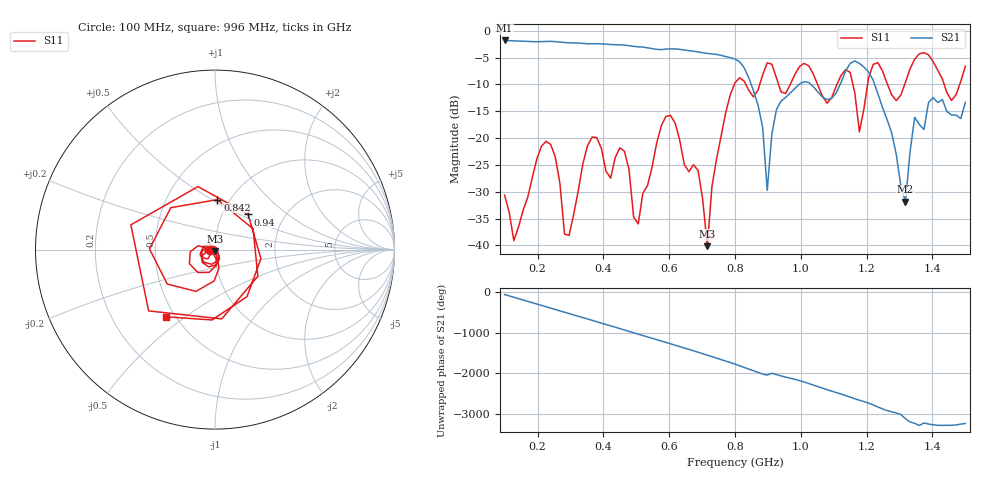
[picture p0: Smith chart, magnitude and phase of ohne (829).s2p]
! NanoVNA-App
! Date: 2025-09-25 14:27:15
! Start: 100MHz Stop: 1,5GHz Points: 101
! S-Parameter data: F S11 S21 S12 S22
# Hz S RI R 50
!  Frequency  S11_Real  S11_Imag  S21_Real  S21_Imag  S12_Real  S12_Imag  S22_Real  S22_Imag
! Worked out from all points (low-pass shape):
!   101 points, 100 MHz to 1.5 GHz, reference 50 ohm
!   highest |S21| = -1.79 dB at 100 MHz (marker M1); lowest = -31.9 dB at 1.318 GHz (marker M2)
!   |S21| within 3 dB of the highest: start of sweep to 771.6 MHz
!   lowest |S11| = -40.2 dB at 716 MHz (marker M3), VSWR 1.02, Z = 49.8 - j0.96 ohm
!   |S11| at or under -10 dB: start of sweep to 797.9 MHz; 833 MHz to 875.1 MHz (42.08 MHz wide, 4.93 % of centre); 1.051 GHz to 1.11 GHz (58.78 MHz wide, 5.44 % of centre) (the widest 3 of 7)
!   S12 and S22 are empty: the file has one direction only
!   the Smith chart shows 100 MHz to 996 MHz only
!   S11 on the Smith chart (normalised r, x): 100 MHz: 0.94, -0.01; 842 MHz: 0.88, +0.53; 940 MHz: 1.32, +0.56; 996 MHz: 0.44, -0.42
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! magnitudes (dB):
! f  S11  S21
! 100 MHz  -30.6  -1.8
! 128 MHz  -39.1  -1.9
! 226 MHz  -20.6  -2.0
! 296 MHz  -38.1  -2.2
! 338 MHz  -24.7  -2.3
! 464 MHz  -22.4  -2.7
! 506 MHz  -36.0  -3.0
! 576 MHz  -17.7  -3.5
! 688 MHz  -26.1  -3.9
! 716 MHz  -40.2  -4.2
! 800 MHz  -9.7  -5.3
! 842 MHz  -11.1  -8.8
! 898 MHz  -6.0  -29.8
! 940 MHz  -11.4  -13.1
! 996 MHz  -6.7  -9.9
! 1.038 GHz  -8.1  -10.4
! 1.178 GHz  -18.8  -6.1
! 1.22 GHz  -6.3  -9.2
! 1.276 GHz  -11.9  -19.0
! 1.318 GHz  -9.6  -31.9
! 1.346 GHz  -5.3  -16.1
! 1.5 GHz  -6.6  -13.3
